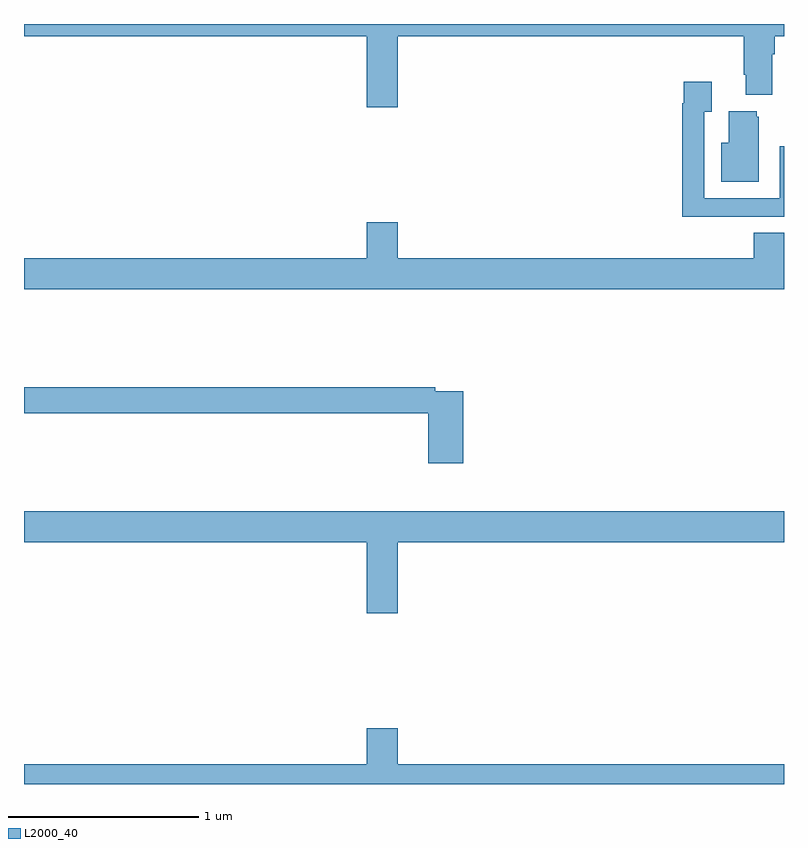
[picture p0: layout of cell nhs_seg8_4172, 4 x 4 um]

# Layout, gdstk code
import gdstk
lib = gdstk.Library(unit=1e-6, precision=1e-09)
def P(c, l, *ps):  # polygons
    for p in ps: c.add(gdstk.Polygon(p, *l))
L2000_40 = (2000, 40)

nhs_seg8_4172 = lib.new_cell('nhs_seg8_4172')
P(nhs_seg8_4172, L2000_40, [(367,1113.836),(368.804,1113.836),(368.804,1113.462),(368.968,1113.462),(368.968,1113.836),(370.787,1113.836),(370.787,1113.634),(370.799,1113.634),(370.799,1113.527),(370.939,1113.527),(370.939,1113.74),(370.952,1113.74),(370.952,1113.836),(371,1113.836),(371,1113.9),(367,1113.9)],
  [(370.757,1112.886),(371,1112.886),(371,1113.256),(370.977,1113.256),(370.977,1112.982),(370.581,1112.982),(370.581,1113.439),(370.621,1113.439),(370.621,1113.595),(370.473,1113.595),(370.473,1113.482),(370.465,1113.482),(370.465,1112.885),(370.757,1112.885)],
  [(370.867,1113.411),(370.856,1113.411),(370.856,1113.442),(370.709,1113.442),(370.709,1113.274),(370.67,1113.274),(370.67,1113.071),(370.867,1113.071)],
  [(371,1112.801),(370.841,1112.801),(370.841,1112.668),(368.968,1112.668),(368.968,1112.857),(368.804,1112.857),(368.804,1112.668),(367,1112.668),(367,1112.504),(371,1112.504)],
  [(369.311,1111.968),(369.164,1111.968),(369.164,1111.988),(367,1111.988),(367,1111.852),(369.128,1111.852),(369.128,1111.587),(369.311,1111.587)],
  [(368.968,1111.172),(371,1111.172),(371,1111.336),(367,1111.336),(367,1111.172),(368.804,1111.172),(368.804,1110.798),(368.968,1110.798)],
  [(371,1110.004),(368.968,1110.004),(368.968,1110.193),(368.804,1110.193),(368.804,1110.004),(367,1110.004),(367,1109.9),(371,1109.9)])

lib.write_gds('nhs_seg8_4172.gds')
